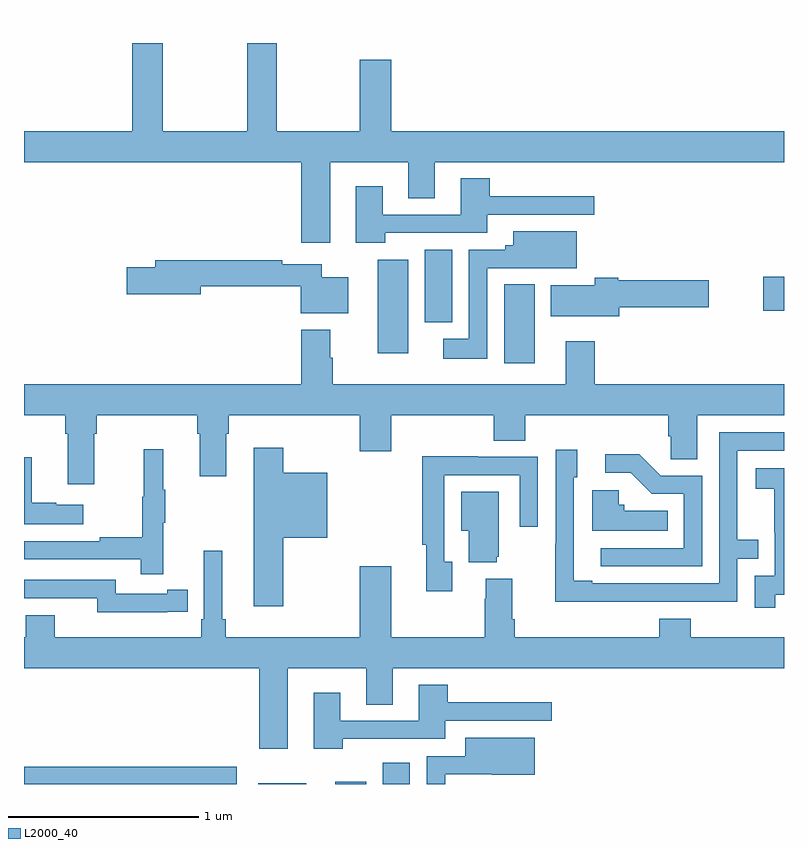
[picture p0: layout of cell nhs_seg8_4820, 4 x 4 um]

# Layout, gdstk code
import gdstk
lib = gdstk.Library(unit=1e-6, precision=1e-09)
def R(c, l, rs):  # rectangles x0, y0, x1, y1
    for r in rs: c.add(gdstk.rectangle(r[:2], r[2:], *l))
def P(c, l, *ps):  # polygons
    for p in ps: c.add(gdstk.Polygon(p, *l))
L2000_40 = (2000, 40)

nhs_seg8_4820 = lib.new_cell('nhs_seg8_4820')
R(nhs_seg8_4820, L2000_40, [(403,1107.9,404.121,1107.992), (404.234,1107.9,404.485,1107.904), (404.639,1107.9,404.8,1107.913), (404.888,1107.9,405.031,1108.012), (405.527,1110.114,405.688,1110.529), (404.861,1110.168,405.022,1110.658), (405.11,1110.329,405.253,1110.712), (406.89,1110.391,407,1110.569), (403.778,1111.898,404.128,1111.9)])
P(nhs_seg8_4820, L2000_40, [(404.611,1111.172),(405.023,1111.172),(405.023,1110.982),(405.163,1110.982),(405.163,1111.172),(407,1111.172),(407,1111.336),(404.932,1111.336),(404.932,1111.711),(404.768,1111.711),(404.768,1111.336),(404.331,1111.336),(404.331,1111.798),(404.176,1111.798),(404.176,1111.336),(403.731,1111.336),(403.731,1111.798),(403.571,1111.798),(403.571,1111.336),(403,1111.336),(403,1111.172),(404.459,1111.172),(404.459,1110.75),(404.611,1110.75)],
  [(404.9,1110.801),(405.439,1110.801),(405.439,1110.897),(406,1110.897),(406,1110.994),(405.452,1110.994),(405.452,1111.087),(405.299,1111.087),(405.299,1110.897),(404.887,1110.897),(404.887,1111.045),(404.747,1111.045),(404.747,1110.75),(404.9,1110.75)],
  [(405.438,1110.615),(405.684,1110.615),(405.684,1110.614),(405.91,1110.614),(405.91,1110.808),(405.575,1110.808),(405.575,1110.736),(405.534,1110.736),(405.534,1110.711),(405.342,1110.711),(405.342,1110.244),(405.207,1110.244),(405.207,1110.137),(405.438,1110.137)],
  [(404.707,1110.568),(404.566,1110.568),(404.566,1110.636),(404.36,1110.636),(404.36,1110.656),(403.691,1110.656),(403.691,1110.62),(403.542,1110.62),(403.542,1110.478),(403.93,1110.478),(403.93,1110.52),(404.456,1110.52),(404.456,1110.377),(404.707,1110.377)],
  [(406.132,1110.409),(406.603,1110.409),(406.603,1110.551),(406.128,1110.551),(406.128,1110.564),(406.003,1110.564),(406.003,1110.526),(405.773,1110.526),(405.773,1110.362),(406.132,1110.362)],
  [(403.369,1109.744),(403.382,1109.744),(403.382,1109.84),(403.913,1109.84),(403.913,1109.744),(403.925,1109.744),(403.925,1109.52),(404.065,1109.52),(404.065,1109.744),(404.078,1109.744),(404.078,1109.84),(404.768,1109.84),(404.768,1109.652),(404.932,1109.652),(404.932,1109.84),(405.473,1109.84),(405.473,1109.707),(405.638,1109.707),(405.638,1109.84),(406.391,1109.84),(406.391,1109.731),(406.404,1109.731),(406.404,1109.608),(406.543,1109.608),(406.543,1109.84),(407,1109.84),(407,1110.004),(406.004,1110.004),(406.004,1110.229),(405.851,1110.229),(405.851,1110.004),(404.624,1110.004),(404.624,1110.143),(404.611,1110.143),(404.611,1110.292),(404.459,1110.292),(404.459,1110.004),(403,1110.004),(403,1109.84),(403.217,1109.84),(403.217,1109.744),(403.229,1109.744),(403.229,1109.478),(403.369,1109.478)],
  [(406.259,1108.86),(406.755,1108.86),(406.755,1109.085),(406.865,1109.085),(406.865,1109.186),(406.755,1109.186),(406.755,1109.655),(407,1109.655),(407,1109.751),(406.659,1109.751),(406.659,1108.956),(405.991,1108.956),(405.991,1108.969),(405.894,1108.969),(405.894,1109.514),(405.913,1109.514),(405.913,1109.659),(405.798,1109.659),(405.798,1109.165),(405.796,1109.165),(405.796,1108.859),(406.259,1108.859)],
  [(404.364,1109.195),(404.596,1109.195),(404.596,1109.539),(404.364,1109.539),(404.364,1109.671),(404.21,1109.671),(404.21,1108.836),(404.364,1108.836)],
  [(403.733,1109.275),(403.744,1109.275),(403.744,1109.449),(403.733,1109.449),(403.733,1109.662),(403.63,1109.662),(403.63,1109.412),(403.623,1109.412),(403.623,1109.198),(403.399,1109.198),(403.399,1109.178),(403,1109.178),(403,1109.082),(403.615,1109.082),(403.615,1109.004),(403.733,1109.004)],
  [(406.569,1109.523),(406.35,1109.523),(406.237,1109.636),(406.059,1109.636),(406.059,1109.538),(406.193,1109.538),(406.304,1109.427),(406.473,1109.427),(406.473,1109.142),(406.035,1109.142),(406.035,1109.046),(406.569,1109.046)],
  [(405.253,1109.07),(405.213,1109.07),(405.213,1109.526),(405.609,1109.526),(405.609,1109.253),(405.705,1109.253),(405.705,1109.622),(405.389,1109.622),(405.389,1109.624),(405.097,1109.624),(405.097,1109.158),(405.116,1109.158),(405.116,1108.914),(405.253,1108.914)],
  [(403.312,1109.371),(403.169,1109.371),(403.169,1109.381),(403.042,1109.381),(403.042,1109.62),(403,1109.62),(403,1109.267),(403.312,1109.267)],
  [(406.954,1108.897),(407,1108.897),(407,1109.563),(406.851,1109.563),(406.851,1109.453),(406.949,1109.453),(406.949,1109.225),(406.95,1109.225),(406.95,1108.995),(406.845,1108.995),(406.845,1108.827),(406.954,1108.827)],
  [(406.388,1109.338),(406.158,1109.338),(406.158,1109.37),(406.131,1109.37),(406.131,1109.446),(405.992,1109.446),(405.992,1109.234),(406.388,1109.234)],
  [(405.488,1109.097),(405.499,1109.097),(405.499,1109.437),(405.302,1109.437),(405.302,1109.234),(405.341,1109.234),(405.341,1109.066),(405.488,1109.066)],
  [(404.389,1108.508),(404.801,1108.508),(404.801,1108.318),(404.941,1108.318),(404.941,1108.508),(407,1108.508),(407,1108.672),(406.508,1108.672),(406.508,1108.771),(406.343,1108.771),(406.343,1108.672),(405.584,1108.672),(405.584,1108.768),(405.571,1108.768),(405.571,1108.981),(405.431,1108.981),(405.431,1108.874),(405.424,1108.874),(405.424,1108.672),(404.932,1108.672),(404.932,1109.047),(404.768,1109.047),(404.768,1108.672),(404.063,1108.672),(404.063,1108.768),(404.044,1108.768),(404.044,1109.128),(403.947,1109.128),(403.947,1108.768),(403.934,1108.768),(403.934,1108.672),(403.162,1108.672),(403.162,1108.789),(403.01,1108.789),(403.01,1108.672),(403,1108.672),(403,1108.508),(404.237,1108.508),(404.237,1108.086),(404.389,1108.086)],
  [(403.754,1108.806),(403.862,1108.806),(403.862,1108.922),(403.754,1108.922),(403.754,1108.902),(403.482,1108.902),(403.482,1108.974),(403,1108.974),(403,1108.878),(403.386,1108.878),(403.386,1108.805),(403.754,1108.805)],
  [(404.678,1108.137),(405.217,1108.137),(405.217,1108.233),(405.778,1108.233),(405.778,1108.33),(405.23,1108.33),(405.23,1108.423),(405.077,1108.423),(405.077,1108.233),(404.665,1108.233),(404.665,1108.381),(404.525,1108.381),(404.525,1108.086),(404.678,1108.086)],
  [(405.216,1107.951),(405.462,1107.951),(405.462,1107.95),(405.688,1107.95),(405.688,1108.144),(405.323,1108.144),(405.323,1108.047),(405.12,1108.047),(405.12,1107.9),(405.216,1107.9)])

lib.write_gds('nhs_seg8_4820.gds')
